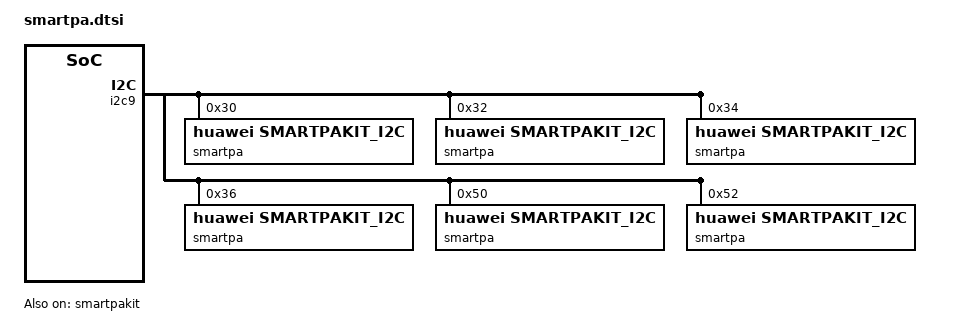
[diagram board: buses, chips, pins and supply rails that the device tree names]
&i2c9 {
	#address-cells = <1>;
	#size-cells = <0>;
	smartpa@30{
		compatible = "huawei,smartpakit_i2c";
		reg = <0x30>;
		/* 4:huawei customize */
		chip_vendor = <4>;
		/* refer to smartpakit.out_device prop */
		chip_id = <0>;
		chip_model = "06-01";
		/* maybe trigger one irq after some chip reset
		 * debounce wait time unit: msecs */
		reset_debounce_wait_time = <100>;
		status = "ok";

		/* reg_ctl node: a node contains three data<addr value ctl_type>
		 * ctl_type: 0 read reg(default), 1 write reg, 2 only time delay
		 * value:
		 *     read:  reg number(num >= 1)
		 *     write: reg value
		 *     delay: time delay
		 * time delay unit: msecs
		 */
		version_regs = <0x00 1 0>;
		dump_regs = <0 256 0>;

		hw_reset {
			gpio_reset = <&pio 30 0>;
			/* gpio_state node: a node contains two data<state delay>
			 * time delay unit: msecs
			 */
			ctl_sequence = <0 1 1 1>;
		};

		irq_handler {
			gpio_irq = <&pio 31 0>;
			/* 0x0 IRQF_TRIGGER_NONE, 0x1 IRQF_TRIGGER_RISING, 0x2 IRQF_TRIGGER_FALLING, 0x4 IRQF_TRIGGER_HIGH, 0x8 IRQF_TRIGGER_LOW */
			irq_flags = <2>;
			/* whether or not need reset chip */
			need_reset;
			rw_sequence = <
				0x00 8 0
				0x09 5 0
				0x12 3 0
				0x60 2 0
				0x78 1 0
				0x7a 1 0
			>;
		};

		regmap_cfg {
			reg_bits = <8>;
			val_bits = <16>;
			/* 0 REGCACHE_NONE, 1 REGCACHE_RBTREE, 2 REGCACHE_COMPRESSED, 3 REGCACHE_FLAT */
			cache_type = <0>;
			max_register = <0xff>;
		};
	};

	smartpa@32{
		compatible = "huawei,smartpakit_i2c";
		reg = <0x32>;
		/* 4:huawei customize */
		chip_vendor = <4>;
		/* refer to smartpakit.out_device prop */
		chip_id = <1>;
		chip_model = "06-01";
		/* maybe trigger one irq after some chip reset
		 * debounce wait time unit: msecs */
		reset_debounce_wait_time = <100>;
		status = "ok";

		/* reg_ctl node: a node contains three data<addr value ctl_type>
		 * ctl_type: 0 read reg(default), 1 write reg, 2 only time delay
		 * value:
		 *     read:  reg number(num >= 1)
		 *     write: reg value
		 *     delay: time delay
		 * time delay unit: msecs
		 */
		version_regs = <0x00 1 0>;
		dump_regs = <0 256 0>;

		hw_reset {
			gpio_reset = <&pio 109 0>;
			/* gpio_state node: a node contains two data<state delay>
			 * time delay unit: msecs
			 */
			ctl_sequence = <0 1 1 1>;
		};

		irq_handler {
			gpio_irq = <&pio 194 0>;
			/* 0x0 IRQF_TRIGGER_NONE, 0x1 IRQF_TRIGGER_RISING, 0x2 IRQF_TRIGGER_FALLING, 0x4 IRQF_TRIGGER_HIGH, 0x8 IRQF_TRIGGER_LOW */
			irq_flags = <2>;
			/* whether or not need reset chip */
			need_reset;
			rw_sequence = <
				0x00 8 0
				0x09 5 0
				0x12 3 0
				0x60 2 0
				0x78 1 0
				0x7a 1 0
			>;
		};

		regmap_cfg {
			reg_bits = <8>;
			val_bits = <16>;
			/* 0 REGCACHE_NONE, 1 REGCACHE_RBTREE, 2 REGCACHE_COMPRESSED, 3 REGCACHE_FLAT */
			cache_type = <0>;
			max_register = <0xff>;
		};
	};

	smartpa@34{
		compatible = "huawei,smartpakit_i2c";
		reg = <0x34>;
		/* 4:huawei customize */
		chip_vendor = <4>;
		/* refer to smartpakit.out_device prop */
		chip_id = <0>;
		chip_model = "01-02";
		status = "ok";

		/* reg_ctl node: a node contains three data<addr value ctl_type>
		 * ctl_type: 0 read reg(default), 1 write reg, 2 only time delay
		 * value:
		 *     read:  reg number(num >= 1)
		 *     write: reg value
		 *     delay: time delay
		 * time delay unit: msecs */
		version_regs = <0x03 1 0>;
		dump_regs = <0 256 0>;
		hw_reset {
			gpio_reset = <&pio 30 0>;
			/* gpio_state node: a node contains two data<state delay>
			 * time delay unit: msecs */
			ctl_sequence = <1 1 0 1>;
		};
		irq_handler {
			gpio_irq = <&pio 31 0>;
			/* 0x0 IRQF_TRIGGER_NONE, 0x1 IRQF_TRIGGER_RISING, 0x2 IRQF_TRIGGER_FALLING, 0x4 IRQF_TRIGGER_HIGH, 0x8 IRQF_TRIGGER_LOW */
			irq_flags = <2>;
			/* whether or not need reset chip */
			need_reset;
			rw_sequence = <
				0x10 1 0
				0x11 1 0
				0x13 1 0
				0x14 1 0
				0x40 1 0
				0x41 1 0
				0x42 1 0
			>;
		};
		regmap_cfg {
			reg_bits = <8>;
			val_bits = <16>;
			/* 0 REGCACHE_NONE, 1 REGCACHE_RBTREE, 2 REGCACHE_COMPRESSED, 3 REGCACHE_FLAT */
			cache_type = <0>;
			max_register = <0xff>;
			reg_defaults = <
				0x00 0x1801
				0x01 0x0014
			>;
		};
	};

	smartpa@36{
		compatible = "huawei,smartpakit_i2c";
		reg = <0x36>;
		/* 4:huawei customize */
		chip_vendor = <4>;
		/* refer to smartpakit.out_device prop */
		chip_id = <1>;
		chip_model = "01-02";
		status = "ok";

		/* reg_ctl node: a node contains three data<addr value ctl_type>
		 * ctl_type: 0 read reg(default), 1 write reg, 2 only time delay
		 * value:
		 *     read:  reg number(num >= 1)
		 *     write: reg value
		 *     delay: time delay
		 * time delay unit: msecs */
		version_regs = <0x03 1 0>;
		dump_regs = <0 256 0>;
		hw_reset {
			gpio_reset = <&pio 109 0>;
			/* gpio_state node: a node contains two data<state delay>
			 * time delay unit: msecs */
			ctl_sequence = <1 1 0 1>;
		};
		irq_handler {
			gpio_irq = <&pio 194 0>;
			/* 0x0 IRQF_TRIGGER_NONE, 0x1 IRQF_TRIGGER_RISING, 0x2 IRQF_TRIGGER_FALLING, 0x4 IRQF_TRIGGER_HIGH, 0x8 IRQF_TRIGGER_LOW */
			irq_flags = <2>;
			/* whether or not need reset chip */
			need_reset;
			rw_sequence = <
				0x10 1 0
				0x11 1 0
				0x13 1 0
				0x14 1 0
				0x40 1 0
				0x41 1 0
				0x42 1 0
			>;
		};
		regmap_cfg {
			reg_bits = <8>;
			val_bits = <16>;
			/* 0 REGCACHE_NONE, 1 REGCACHE_RBTREE, 2 REGCACHE_COMPRESSED, 3 REGCACHE_FLAT */
			cache_type = <0>;
			max_register = <0xff>;
			reg_defaults = <
				0x00 0x1801
				0x01 0x0014
			>;
		};
	};

	smartpa@50{
		compatible = "huawei,smartpakit_i2c";
		reg = <0x50>;
		/* 4:huawei customize */
		chip_vendor = <4>;
		/* refer to smartpakit.out_device prop */
		chip_id = <0>;
		chip_model = "03-01";
		status = "ok";

		/* reg_ctl node: a node contains three data<addr value ctl_type>
		 * ctl_type: 0 read reg(default), 1 write reg, 2 only time delay
		 * value:
		 *     read:  reg number(num >= 1)
		 *     write: reg value
		 *     delay: time delay
		 * time delay unit: msecs */
		version_regs = <0x0 1 0>;
		dump_regs = <
			0x000000 1          0
			0x000008 1          0
			0x002014 0x21       0
			0x002400 1          0
			0x002c04 0xd        0
			0x003800 0x31       0
			0x004004 1          0
			0x004220 1          0
			0x004300 1          0
			0x004800 0x3d       0
			0x004C00 1          0
			0x004C20 0x15       0
			0x006000 1          0
			0x006404 0x11       0
			0x006450 1          0
			0x006800 0x9        0
			0x006C04 1          0
			0xd00000 0x4d       0
			0xe02800 1          0>;

		hw_reset {
			gpio_reset = <&pio 30 0>;
			/* gpio_state node: a node contains two data<state delay>
			 * time delay unit: msecs */
			ctl_sequence = <1 1 0 1>;
		};
		irq_handler {
			gpio_irq = <&pio 31 0>;
			/* 0x0 IRQF_TRIGGER_NONE, 0x1 IRQF_TRIGGER_RISING, 0x2 IRQF_TRIGGER_FALLING, 0x4 IRQF_TRIGGER_HIGH, 0x8 IRQF_TRIGGER_LOW */
			irq_flags = <2>;
			/* whether or not need reset chip */
			need_reset;
			rw_sequence = <
				0xd00020 1          0
				0xd00024 1          0
				0xd00028 1          0
				0xd0002c 1          0
				0xd00000 0xffffffff 1
				0xd00004 0xffffffff 1
				0xd00008 0xffffffff 1
				0xd0000c 0xffffffff 1
			>;
		};
		regmap_cfg {
			reg_bits = <32>;
			val_bits = <32>;
			/* 0 REGCACHE_NONE, 1 REGCACHE_RBTREE, 2 REGCACHE_COMPRESSED, 3 REGCACHE_FLAT */
			cache_type = <0>;
			max_register = <0xe0ffff>;
		};
	};

	smartpa@52{
		compatible = "huawei,smartpakit_i2c";
		reg = <0x52>;
		/* 4:huawei customize */
		chip_vendor = <4>;
		/* refer to smartpakit.out_device prop */
		chip_id = <1>;
		chip_model = "03-01";
		status = "ok";

		/* reg_ctl node: a node contains three data<addr value ctl_type>
		 * ctl_type: 0 read reg(default), 1 write reg, 2 only time delay
		 * value:
		 *     read:  reg number(num >= 1)
		 *     write: reg value
		 *     delay: time delay
		 * time delay unit: msecs */
		version_regs = <0x0 1 0>;
		dump_regs = <
			0x000000 1          0
			0x000008 1          0
			0x002014 0x21       0
			0x002400 1          0
			0x002c04 0xd        0
			0x003800 0x31       0
			0x004004 1          0
			0x004220 1          0
			0x004300 1          0
			0x004800 0x3d       0
			0x004C00 1          0
			0x004C20 0x15       0
			0x006000 1          0
			0x006404 0x11       0
			0x006450 1          0
			0x006800 0x9        0
			0x006C04 1          0
			0xd00000 0x4d       0
			0xe02800 1          0>;

		hw_reset {
			gpio_reset = <&pio 109 0>;
			/* gpio_state node: a node contains two data<state delay>
			 * time delay unit: msecs */
			ctl_sequence = <1 1 0 1>;
		};
		irq_handler {
			gpio_irq = <&pio 194 0>;
			/* 0x0 IRQF_TRIGGER_NONE, 0x1 IRQF_TRIGGER_RISING, 0x2 IRQF_TRIGGER_FALLING, 0x4 IRQF_TRIGGER_HIGH, 0x8 IRQF_TRIGGER_LOW */
			irq_flags = <2>;
			/* whether or not need reset chip */
			need_reset;
			rw_sequence = <
				0xd00020 1          0
				0xd00024 1          0
				0xd00028 1          0
				0xd0002c 1          0
				0xd00000 0xffffffff 1
				0xd00004 0xffffffff 1
				0xd00008 0xffffffff 1
				0xd0000c 0xffffffff 1
			>;
		};
		regmap_cfg {
			reg_bits = <32>;
			val_bits = <32>;
			/* 0 REGCACHE_NONE, 1 REGCACHE_RBTREE, 2 REGCACHE_COMPRESSED, 3 REGCACHE_FLAT */
			cache_type = <0>;
			max_register = <0xe0ffff>;
		};
	};
};

&smartpakit {
	compatible = "huawei,smartpakit";
	/* 0 hisi, 1 qcom, 2 mtk */
	soc_platform = <2>;
	/* algo running on: 0 codec_dsp, 1 soc_dsp, 2 smartpa_dsp, 3 simple pa(not smpartpa), 4 simple pa(with i2c) */
	algo_in = <1>;
	/* algo_in params need match out_device for smartpa.
	 * Now, up to only support four pa, so out_device = <0 0 0 0>;
	 * 1. This array is arranged in the following order:
	 *    <0 1 2 3>
	 *    <pril prir secl secr>
	 * 2. This array element value is 0 or 1:
	 *    smartpa: 0 speaker, 1 receiver
	 *    simple pa: out_device not applicable, only set 0 to indicate pa_num
	 * 3. The length of this array is variable, for example:
	 *    single pa: out_device = <0>;
	 *    two pa: out_device = <0 0>;
	 *    four pa: out_device = <1 1 0 0>; */
	out_device = <0 0>;
	/* param_version: 1 mixed smartpa param support */
	param_version = <1>;
	special_name_config = "smartpa_single_i2s_rcv";
	misc_rw_permission_enable;
	status = "ok";
};
